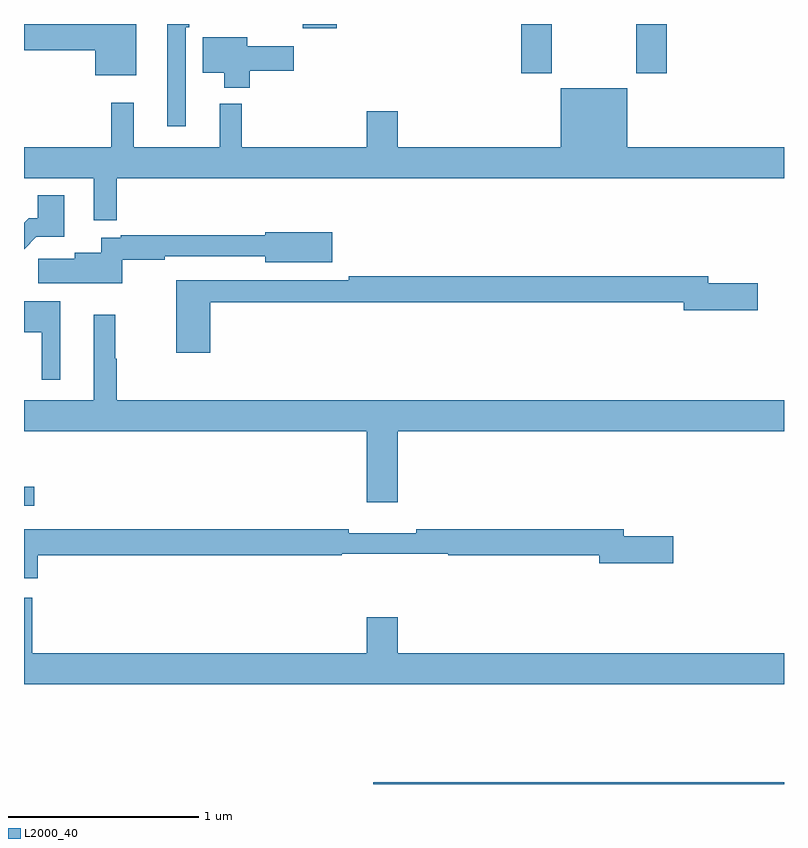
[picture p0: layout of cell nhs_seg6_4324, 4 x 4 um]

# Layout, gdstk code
import gdstk
lib = gdstk.Library(unit=1e-6, precision=1e-09)
def R(c, l, rs):  # rectangles x0, y0, x1, y1
    for r in rs: c.add(gdstk.rectangle(r[:2], r[2:], *l))
def P(c, l, *ps):  # polygons
    for p in ps: c.add(gdstk.Polygon(p, *l))
L2000_40 = (2000, 40)

nhs_seg6_4324 = lib.new_cell('nhs_seg6_4324')
R(nhs_seg6_4324, L2000_40, [(368.837,925.5,371,925.508), (367,926.964,367.054,927.065), (369.617,929.241,369.777,929.5), (370.222,929.241,370.382,929.5), (368.467,929.478,368.645,929.5)])
P(nhs_seg6_4324, L2000_40, [(367.591,929.5),(367,929.5),(367,929.363),(367.376,929.363),(367.376,929.231),(367.591,929.231)],
  [(367.851,929.483),(367.871,929.483),(367.871,929.5),(367.754,929.5),(367.754,928.962),(367.851,928.962)],
  [(368.189,929.254),(368.419,929.254),(368.419,929.383),(368.176,929.383),(368.176,929.431),(367.94,929.431),(367.94,929.243),(368.054,929.243),(368.054,929.165),(368.189,929.165)],
  [(367.489,928.688),(371,928.688),(371,928.852),(370.174,928.852),(370.174,929.161),(369.824,929.161),(369.824,928.852),(368.968,928.852),(368.968,929.041),(368.804,929.041),(368.804,928.852),(368.147,928.852),(368.147,929.08),(368.03,929.08),(368.03,928.852),(367.577,928.852),(367.577,929.086),(367.459,929.086),(367.459,928.852),(367,928.852),(367,928.688),(367.367,928.688),(367.367,928.467),(367.489,928.467)],
  [(367.064,928.379),(367.213,928.379),(367.213,928.6),(367.073,928.6),(367.073,928.477),(367.024,928.477),(367,928.453),(367,928.315)],
  [(367.516,928.258),(367.742,928.258),(367.742,928.278),(368.27,928.278),(368.27,928.247),(368.623,928.247),(368.623,928.405),(368.27,928.405),(368.27,928.387),(367.51,928.387),(367.51,928.374),(367.406,928.374),(367.406,928.297),(367.268,928.297),(367.268,928.265),(367.074,928.265),(367.074,928.136),(367.516,928.136)],
  [(367.979,928.036),(370.472,928.036),(370.472,927.994),(370.861,927.994),(370.861,928.136),(370.6,928.136),(370.6,928.172),(368.71,928.172),(368.71,928.152),(367.801,928.152),(367.801,927.771),(367.979,927.771)],
  [(367.192,928.042),(367,928.042),(367,927.878),(367.094,927.878),(367.094,927.627),(367.192,927.627)],
  [(368.968,927.356),(371,927.356),(371,927.52),(367.489,927.52),(367.489,927.737),(367.481,927.737),(367.481,927.97),(367.367,927.97),(367.367,927.52),(367,927.52),(367,927.356),(368.804,927.356),(368.804,926.982),(368.968,926.982)],
  [(367.073,926.704),(368.673,926.704),(368.673,926.712),(369.232,926.712),(369.232,926.704),(370.028,926.704),(370.028,926.662),(370.417,926.662),(370.417,926.804),(370.156,926.804),(370.156,926.84),(369.064,926.84),(369.064,926.821),(368.708,926.821),(368.708,926.84),(367.056,926.84),(367.056,926.842),(367,926.842),(367,926.582),(367.073,926.582)],
  [(371,926.188),(368.968,926.188),(368.968,926.377),(368.804,926.377),(368.804,926.188),(367.043,926.188),(367.043,926.479),(367,926.479),(367,926.024),(371,926.024)])

lib.write_gds('nhs_seg6_4324.gds')
